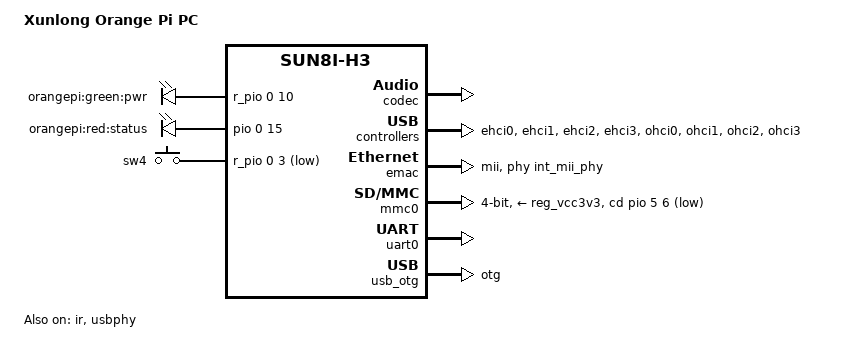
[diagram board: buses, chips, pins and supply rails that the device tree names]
/*
 * Copyright (C) 2015 Chen-Yu Tsai <wens@csie.org>
 *
 * This file is dual-licensed: you can use it either under the terms
 * of the GPL or the X11 license, at your option. Note that this dual
 * licensing only applies to this file, and not this project as a
 * whole.
 *
 *  a) This file is free software; you can redistribute it and/or
 *     modify it under the terms of the GNU General Public License as
 *     published by the Free Software Foundation; either version 2 of the
 *     License, or (at your option) any later version.
 *
 *     This file is distributed in the hope that it will be useful,
 *     but WITHOUT ANY WARRANTY; without even the implied warranty of
 *     MERCHANTABILITY or FITNESS FOR A PARTICULAR PURPOSE.  See the
 *     GNU General Public License for more details.
 *
 * Or, alternatively,
 *
 *  b) Permission is hereby granted, free of charge, to any person
 *     obtaining a copy of this software and associated documentation
 *     files (the "Software"), to deal in the Software without
 *     restriction, including without limitation the rights to use,
 *     copy, modify, merge, publish, distribute, sublicense, and/or
 *     sell copies of the Software, and to permit persons to whom the
 *     Software is furnished to do so, subject to the following
 *     conditions:
 *
 *     The above copyright notice and this permission notice shall be
 *     included in all copies or substantial portions of the Software.
 *
 *     THE SOFTWARE IS PROVIDED "AS IS", WITHOUT WARRANTY OF ANY KIND,
 *     EXPRESS OR IMPLIED, INCLUDING BUT NOT LIMITED TO THE WARRANTIES
 *     OF MERCHANTABILITY, FITNESS FOR A PARTICULAR PURPOSE AND
 *     NONINFRINGEMENT. IN NO EVENT SHALL THE AUTHORS OR COPYRIGHT
 *     HOLDERS BE LIABLE FOR ANY CLAIM, DAMAGES OR OTHER LIABILITY,
 *     WHETHER IN AN ACTION OF CONTRACT, TORT OR OTHERWISE, ARISING
 *     FROM, OUT OF OR IN CONNECTION WITH THE SOFTWARE OR THE USE OR
 *     OTHER DEALINGS IN THE SOFTWARE.
 */

/dts-v1/;
#include "sun8i-h3.dtsi"
#include "sunxi-common-regulators.dtsi"

#include <dt-bindings/gpio/gpio.h>
#include <dt-bindings/input/input.h>

/ {
	model = "Xunlong Orange Pi PC";
	compatible = "xunlong,orangepi-pc", "allwinner,sun8i-h3";

	aliases {
		ethernet0 = &emac;
		serial0 = &uart0;
	};

	chosen {
		stdout-path = "serial0:115200n8";
	};

	leds {
		compatible = "gpio-leds";
		pinctrl-names = "default";
		pinctrl-0 = <&leds_opc>, <&leds_r_opc>;

		pwr_led {
			label = "orangepi:green:pwr";
			gpios = <&r_pio 0 10 GPIO_ACTIVE_HIGH>;
			default-state = "on";
		};

		status_led {
			label = "orangepi:red:status";
			gpios = <&pio 0 15 GPIO_ACTIVE_HIGH>;
		};
	};

	r_gpio_keys {
		compatible = "gpio-keys";
		pinctrl-names = "default";
		pinctrl-0 = <&sw_r_opc>;

		sw4 {
			label = "sw4";
			linux,code = <BTN_0>;
			gpios = <&r_pio 0 3 GPIO_ACTIVE_LOW>;
		};
	};
};

&codec {
	allwinner,audio-routing =
		"Line Out", "LINEOUT",
		"MIC1", "Mic",
		"Mic",  "MBIAS";
	status = "okay";
};

&ehci0 {
	status = "okay";
};

&ehci1 {
	status = "okay";
};

&ehci2 {
	status = "okay";
};

&ehci3 {
	status = "okay";
};

&emac {
	phy-handle = <&int_mii_phy>;
	phy-mode = "mii";
	allwinner,leds-active-low;
	status = "okay";
};

&ir {
	pinctrl-names = "default";
	pinctrl-0 = <&ir_pins_a>;
	status = "okay";
};

&mmc0 {
	pinctrl-names = "default";
	pinctrl-0 = <&mmc0_pins_a>, <&mmc0_cd_pin>;
	vmmc-supply = <&reg_vcc3v3>;
	bus-width = <4>;
	cd-gpios = <&pio 5 6 GPIO_ACTIVE_HIGH>; /* PF6 */
	cd-inverted;
	status = "okay";
};

&ohci0 {
	status = "okay";
};

&ohci1 {
	status = "okay";
};

&ohci2 {
	status = "okay";
};

&ohci3 {
	status = "okay";
};

&pio {
	leds_opc: led_pins {
		pins = "PA15";
		function = "gpio_out";
	};
};

&r_pio {
	leds_r_opc: led_pins {
		pins = "PL10";
		function = "gpio_out";
	};

	sw_r_opc: key_pins {
		pins = "PL3";
		function = "gpio_in";
	};
};

&reg_usb0_vbus {
	gpio = <&r_pio 0 2 GPIO_ACTIVE_HIGH>; /* PL2 */
	status = "okay";
};

&uart0 {
	pinctrl-names = "default";
	pinctrl-0 = <&uart0_pins_a>;
	status = "okay";
};

&uart1 {
	pinctrl-names = "default";
	pinctrl-0 = <&uart1_pins>;
	status = "disabled";
};

&uart2 {
	pinctrl-names = "default";
	pinctrl-0 = <&uart2_pins>;
	status = "disabled";
};

&uart3 {
	pinctrl-names = "default";
	pinctrl-0 = <&uart3_pins>;
	status = "disabled";
};

&usb_otg {
	dr_mode = "otg";
	status = "okay";
};

&usbphy {
	usb0_id_det-gpios = <&pio 6 12 GPIO_ACTIVE_HIGH>; /* PG12 */
	usb0_vbus-supply = <&reg_usb0_vbus>;
	/* VBUS on USB host ports are always on */
	status = "okay";
};
